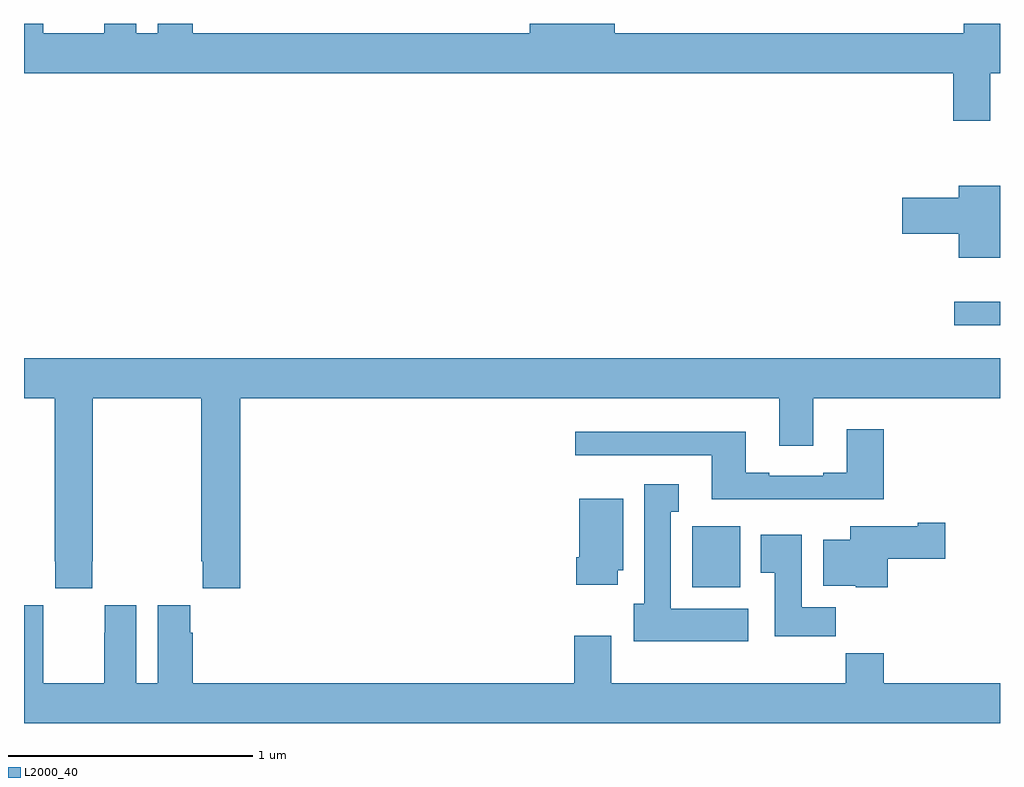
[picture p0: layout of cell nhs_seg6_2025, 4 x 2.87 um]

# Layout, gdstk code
import gdstk
lib = gdstk.Library(unit=1e-6, precision=1e-09)
def R(c, l, rs):  # rectangles x0, y0, x1, y1
    for r in rs: c.add(gdstk.rectangle(r[:2], r[2:], *l))
def P(c, l, *ps):  # polygons
    for p in ps: c.add(gdstk.Polygon(p, *l))
L2000_40 = (2000, 40)

nhs_seg6_2025 = lib.new_cell('nhs_seg6_2025')
R(nhs_seg6_2025, L2000_40, [(233.739,985.19,233.935,985.44), (234.813,986.264,235,986.361)])
P(nhs_seg6_2025, L2000_40, [(234.961,987.296),(235,987.296),(235,987.5),(234.851,987.5),(234.851,987.46),(233.422,987.46),(233.422,987.5),(233.072,987.5),(233.072,987.46),(231.692,987.46),(231.692,987.5),(231.548,987.5),(231.548,987.46),(231.46,987.46),(231.46,987.5),(231.329,987.5),(231.329,987.46),(231.079,987.46),(231.079,987.5),(231,987.5),(231,987.296),(234.809,987.296),(234.809,987.102),(234.961,987.102)],
  [(235,986.836),(234.83,986.836),(234.83,986.786),(234.6,986.786),(234.6,986.639),(234.83,986.639),(234.83,986.54),(235,986.54)],
  [(231,985.964),(231.127,985.964),(231.127,985.297),(231.129,985.297),(231.129,985.185),(231.279,985.185),(231.279,985.297),(231.282,985.297),(231.282,985.964),(231.727,985.964),(231.727,985.297),(231.733,985.297),(231.733,985.185),(231.887,985.185),(231.887,985.964),(234.095,985.964),(234.095,985.77),(234.235,985.77),(234.235,985.964),(235,985.964),(235,986.128),(231,986.128)],
  [(234.524,985.837),(234.371,985.837),(234.371,985.66),(234.275,985.66),(234.275,985.647),(234.055,985.647),(234.055,985.66),(233.959,985.66),(233.959,985.828),(233.259,985.828),(233.259,985.731),(233.819,985.731),(233.819,985.55),(234.524,985.55)],
  [(233.968,985.102),(233.65,985.102),(233.65,985.499),(233.683,985.499),(233.683,985.612),(233.543,985.612),(233.543,985.122),(233.498,985.122),(233.498,984.968),(233.968,984.968)],
  [(233.434,985.26),(233.455,985.26),(233.455,985.552),(233.276,985.552),(233.276,985.312),(233.264,985.312),(233.264,985.2),(233.434,985.2)],
  [(234.539,985.307),(234.775,985.307),(234.775,985.454),(234.662,985.454),(234.662,985.441),(234.386,985.441),(234.386,985.384),(234.275,985.384),(234.275,985.196),(234.408,985.196),(234.408,985.19),(234.539,985.19)],
  [(234.326,985.108),(234.187,985.108),(234.187,985.405),(234.02,985.405),(234.02,985.249),(234.077,985.249),(234.077,984.99),(234.326,984.99)],
  [(235,984.796),(234.524,984.796),(234.524,984.92),(234.367,984.92),(234.367,984.796),(233.407,984.796),(233.407,984.991),(233.255,984.991),(233.255,984.796),(231.692,984.796),(231.692,985.004),(231.682,985.004),(231.682,985.117),(231.548,985.117),(231.548,984.796),(231.46,984.796),(231.46,985.117),(231.33,985.117),(231.33,985.004),(231.329,985.004),(231.329,984.796),(231.079,984.796),(231.079,985.004),(231.078,985.004),(231.078,985.117),(231,985.117),(231,984.632),(235,984.632)])

lib.write_gds('nhs_seg6_2025.gds')
